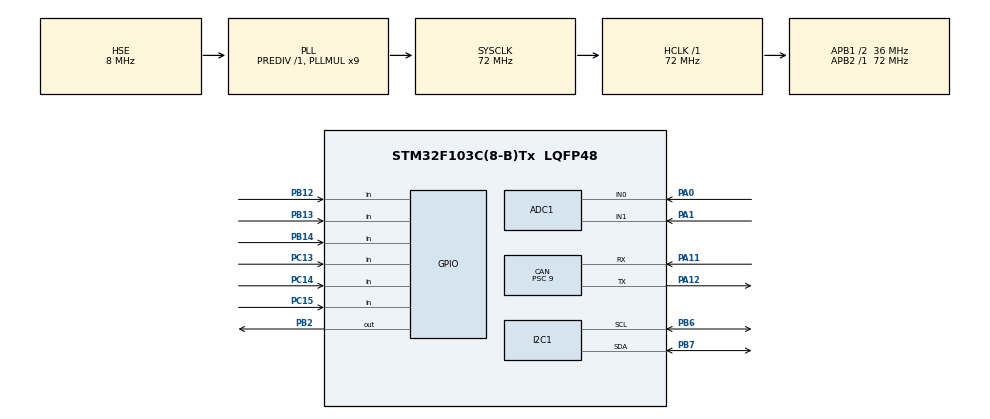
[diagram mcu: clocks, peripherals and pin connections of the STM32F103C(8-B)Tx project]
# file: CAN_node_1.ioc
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ADC1.Channel-5\#ChannelRegularConversion=ADC_CHANNEL_0
ADC1.Channel-6\#ChannelRegularConversion=ADC_CHANNEL_1
ADC1.ContinuousConvMode=ENABLE
ADC1.NbrOfConversion=2
ADC1.NbrOfConversionFlag=1
ADC1.Rank-5\#ChannelRegularConversion=1
ADC1.Rank-6\#ChannelRegularConversion=2
ADC1.SamplingTime-5\#ChannelRegularConversion=ADC_SAMPLETIME_239CYCLES_5
ADC1.SamplingTime-6\#ChannelRegularConversion=ADC_SAMPLETIME_239CYCLES_5
ADC1.master=1
CAN.BS1=CAN_BS1_3TQ
CAN.BS2=CAN_BS2_4TQ
CAN.CalculateBaudRate=500000
CAN.CalculateTimeBit=2000.00
CAN.CalculateTimeQuantum=250.0
CAN.Prescaler=9
Dma.ADC1.0.Direction=DMA_PERIPH_TO_MEMORY
Dma.ADC1.0.Instance=DMA1_Channel1
Dma.ADC1.0.MemDataAlignment=DMA_MDATAALIGN_HALFWORD
Dma.ADC1.0.MemInc=DMA_MINC_ENABLE
Dma.ADC1.0.Mode=DMA_CIRCULAR
Dma.ADC1.0.PeriphDataAlignment=DMA_PDATAALIGN_HALFWORD
Dma.ADC1.0.PeriphInc=DMA_PINC_DISABLE
Dma.ADC1.0.Priority=DMA_PRIORITY_LOW
Dma.Request0=ADC1
FREERTOS.Queues01=q_steering_control,32,uint16_t,0,Dynamic,NULL,NULL;q_throttle_control,32,uint16_t,0,Dynamic,NULL,NULL;q_turn_signal,16,uint8_t,0,Dynamic,NULL,NULL;q_trim_steering,32,uint8_t,0,Dynamic,NULL,NULL;q_disp_steering,16,uint16_t,0,Dynamic,NULL,NULL;q_disp_turn_signal,16,uint8_t,0,Dynamic,NULL,NULL;q_disp_throttle,16,uint16_t,0,Dynamic,NULL,NULL;q_throttle_fb,32,uint16_t,0,Dynamic,NULL,NULL
FREERTOS.Tasks01=display,-1,128,StartDefaultTask,Default,NULL,Dynamic,NULL,NULL;send_message,0,128,StartTask01,Default,NULL,Dynamic,NULL,NULL;dashboard,0,128,StartTask02,Default,NULL,Dynamic,NULL,NULL
I2C1.I2C_Mode=I2C_Fast
Mcu.Family=STM32F1
Mcu.Name=STM32F103C(8-B)Tx
Mcu.Package=LQFP48
NVIC.ADC1_2_IRQn=true\:5\:0\:true\:false\:true\:true\:true\:true
NVIC.DMA1_Channel1_IRQn=true\:5\:0\:true\:false\:true\:true\:false\:true
NVIC.PriorityGroup=NVIC_PRIORITYGROUP_4
NVIC.TIM2_IRQn=true\:5\:0\:false\:false\:true\:true\:true\:true
NVIC.USB_LP_CAN1_RX0_IRQn=true\:5\:0\:false\:false\:true\:true\:true\:true
PA0-WKUP.Signal=ADCx_IN0
PA1.Signal=ADCx_IN1
PA11.Mode=CAN_Activate
PA11.Signal=CAN_RX
PA12.Mode=CAN_Activate
PA12.Signal=CAN_TX
PA13.Mode=Serial_Wire
PA13.Signal=SYS_JTMS-SWDIO
PA14.Mode=Serial_Wire
PA14.Signal=SYS_JTCK-SWCLK
PB12.GPIO_PuPd=GPIO_PULLUP
PB12.Signal=GPIO_Input
PB13.GPIO_PuPd=GPIO_PULLUP
PB13.Signal=GPIO_Input
PB14.GPIO_PuPd=GPIO_PULLUP
PB14.Signal=GPIO_Input
PB2.Signal=GPIO_Output
PB6.Mode=I2C
PB6.Signal=I2C1_SCL
PB7.Mode=I2C
PB7.Signal=I2C1_SDA
PC13-TAMPER-RTC.GPIO_PuPd=GPIO_PULLUP
PC13-TAMPER-RTC.Signal=GPIO_Input
PC14-OSC32_IN.GPIO_PuPd=GPIO_PULLUP
PC14-OSC32_IN.Signal=GPIO_Input
PC15-OSC32_OUT.GPIO_PuPd=GPIO_PULLUP
PC15-OSC32_OUT.Signal=GPIO_Input
PD0-OSC_IN.Mode=HSE-External-Oscillator
PD0-OSC_IN.Signal=RCC_OSC_IN
PD1-OSC_OUT.Mode=HSE-External-Oscillator
PD1-OSC_OUT.Signal=RCC_OSC_OUT
ProjectManager.HeapSize=0x200
ProjectManager.StackSize=0x400
ProjectManager.TargetToolchain=STM32CubeIDE
RCC.ADCPresc=RCC_ADCPCLK2_DIV6
RCC.AHBFreq_Value=72000000
RCC.APB1CLKDivider=RCC_HCLK_DIV2
RCC.APB1Freq_Value=36000000
RCC.APB1TimFreq_Value=72000000
RCC.APB2Freq_Value=72000000
RCC.APB2TimFreq_Value=72000000
RCC.HCLKFreq_Value=72000000
RCC.PLLMUL=RCC_PLL_MUL9
RCC.PLLSourceVirtual=RCC_PLLSOURCE_HSE
RCC.SYSCLKFreq_VALUE=72000000
RCC.SYSCLKSource=RCC_SYSCLKSOURCE_PLLCLK
RCC.USBFreq_Value=72000000
SH.ADCx_IN0.0=ADC1_IN0,IN0
SH.ADCx_IN1.0=ADC1_IN1,IN1
TIM2.Period=10000-1
TIM2.Prescaler=72-1
VP_FREERTOS_VS_CMSIS_V1.Mode=CMSIS_V1
VP_TIM2_VS_ClockSourceINT.Mode=Internal
board=custom

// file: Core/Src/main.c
/* USER CODE BEGIN Header */
/**
  ******************************************************************************
  * @file           : main.c
  * @brief          : Main program body
  ******************************************************************************
  * @attention
  *
  * <h2><center>&copy; Copyright (c) 2025 STMicroelectronics.
  * All rights reserved.</center></h2>
  *
  * This software component is licensed by ST under BSD 3-Clause license,
  * the "License"; You may not use this file except in compliance with the
  * License. You may obtain a copy of the License at:
  *                        opensource.org/licenses/BSD-3-Clause
  *
  ******************************************************************************
  */
/* USER CODE END Header */
#include "main.h"
#include "cmsis_os.h"

/* USER CODE BEGIN Includes */
#include "stdlib.h"
#include "string.h"
#include "kalman_filter.h"
#include "ssd1306_udf.h"
#include "ssd1306_graphic.h"
#include "can_handler.h"
/* USER CODE END Includes */

ADC_HandleTypeDef hadc1;
DMA_HandleTypeDef hdma_adc1;

CAN_HandleTypeDef hcan;

I2C_HandleTypeDef hi2c1;

TIM_HandleTypeDef htim2;

osThreadId displayHandle;
osThreadId send_messageHandle;
osThreadId dashboardHandle;
osMessageQId q_steering_controlHandle;
osMessageQId q_throttle_controlHandle;
osMessageQId q_turn_signalHandle;
osMessageQId q_trim_steeringHandle;
osMessageQId q_disp_steeringHandle;
osMessageQId q_disp_turn_signalHandle;
osMessageQId q_disp_throttleHandle;
osMessageQId q_throttle_fbHandle;
/* USER CODE BEGIN PV */

CAN_TxHeaderTypeDef   tx_header;
uint8_t               tx_data[8];
uint32_t              tx_mailbox;

CAN_RxHeaderTypeDef   rx_header;
uint8_t               rx_data[8];

uint16_t	adc_value[2];
uint16_t 	speed_ppr_fb;
uint16_t 	speed_rpm_fb;
kalman_t 	*kalman_1, *kalman_2;

uint8_t 	status_motor = 0;		// 0 - stop, 1 - start, 2 - error

uint8_t 	trim_button = 0;
uint8_t 	light_sw = 0;
enum light_mode_t light_mode = stop_light;

/* CAN monitors for timeout detection */
CAN_Monitor_t motor_fb_monitor;
CAN_Monitor_t light_fb_monitor;

/* USER CODE END PV */

void SystemClock_Config(void);
static void MX_GPIO_Init(void);
static void MX_DMA_Init(void);
static void MX_CAN_Init(void);
static void MX_I2C1_Init(void);
static void MX_TIM2_Init(void);
static void MX_ADC1_Init(void);
void StartDefaultTask(void const * argument);
void StartTask01(void const * argument);
void StartTask02(void const * argument);

/* USER CODE BEGIN 0 */
void clear_buff (uint8_t * buff_clear, size_t num)
{
	if (buff_clear == NULL) return;

	memset(buff_clear, 0, num);
}

uint8_t check_status_motor (uint16_t throttle_control, uint16_t speed_fb, uint32_t timeout_ms)
{
	static uint32_t curr_tick_cnt = 0;
	static uint32_t pre_tick_cnt = 0;
	static uint16_t pre_throttle_control;
	static uint8_t 	ret = 1;

	throttle_control = throttle_control*144/4096;

	curr_tick_cnt = osKernelSysTick();

	if (curr_tick_cnt - pre_tick_cnt > timeout_ms)
	{
		if ((pre_throttle_control - speed_fb) > 30)
		{
			ret = 2;
		}
		pre_throttle_control = throttle_control;
		pre_tick_cnt = curr_tick_cnt;
	}
	return ret;
}

void disp_status_motor (uint8_t _status_motor)
{
	if (_status_motor == 2)
	{
	static uint32_t curr_tick_cnt = 0;
	static uint32_t pre_tick_cnt = 0;

	curr_tick_cnt = osKernelSysTick();
		if (curr_tick_cnt - pre_tick_cnt > 1000)
		{
			disp_toggle_turn_signal(error_blinker);
		}
	}
}

HAL_StatusTypeDef can_send_message(uint32_t std_id, uint8_t* data, uint8_t dlc)
{
    tx_header.StdId = std_id;
    tx_header.RTR = CAN_RTR_DATA;
    tx_header.DLC = dlc;

    /* Use retry mechanism for reliable transmission */
    HAL_StatusTypeDef result = CAN_Send_WithRetry(&hcan, &tx_header, data, &tx_mailbox, CAN_RETRY_MAX);

    if (result != HAL_OK)
    {
        /* Log error or handle failed transmission */
        CAN_Stats_t* stats = CAN_GetStats(&hcan);
        // Could add debug output here
    }

    return result;
}

void prepare_buff_send ()
{
	static uint16_t pre_throttle = 0;
	static uint16_t pre_steering = 0;
	static uint16_t pre_light = 0;

	uint16_t current_value;
	osEvent q_message;
	uint8_t * p_buff_ptr = (uint8_t *)&current_value;

	tx_header.IDE = CAN_ID_STD;

	/* get element from throttle queue to send motor node control speed motor */
	q_message = osMessageGet(q_throttle_controlHandle, 0);
	status_motor = check_status_motor((uint16_t)q_message.value.v, speed_ppr_fb, 100);

	/* get a message in q_throttle_control if it is not empty */
	if (q_message.status == osEventMessage)
	{
		/* check if the value has changed, then send a message */
		current_value = (uint16_t)q_message.value.v;
		if (abs(current_value - pre_throttle) > 10)
		{
			pre_throttle = current_value;

			tx_data[0] = *p_buff_ptr;
			p_buff_ptr++;
			tx_data[1] = *p_buff_ptr;

			/* Send with retry mechanism */
			if (can_send_message(0x100, tx_data, 2) != HAL_OK)
			{
			    /* Handle transmission error - maybe set error flag */
			}
			clear_buff(&tx_data, sizeof(uint8_t)*8);
			p_buff_ptr = &current_value;
		}
	}

	/* get element from steering queue to send motor node control angle servo */
	q_message = osMessageGet(q_steering_controlHandle, 0);

	/* get a message in q_steering_control if it is not empty */
	if (q_message.status == osEventMessage)
	{
		/* check if the value has changed, then send a message */
		current_value = (uint16_t)q_message.value.v;
		if (abs(current_value - pre_steering) > 10)
		{
			pre_steering = current_value;

			tx_data[0] = *p_buff_ptr;
			p_buff_ptr++;
			tx_data[1] = *p_buff_ptr;

			/* Send with retry mechanism */
			if (can_send_message(0x110, tx_data, 2) != HAL_OK)
			{
			    /* Handle transmission error */
			}
			clear_buff(&tx_data, sizeof(uint8_t)*8);
			p_buff_ptr = &current_value;
		}
	}

	/* get element from light queue to send light node control light */
	q_message = osMessageGet(q_turn_signalHandle, 0);

	/* get a message in q_light_control if it is not empty */
	if (q_message.status == osEventMessage)
	{
		current_value = (uint16_t)q_message.value.v;
		if (current_value != pre_light)
		{
			pre_light = current_value;

			tx_data[0] = current_value;

			/* Send with retry mechanism */
			if (can_send_message(0x210, tx_data, 1) != HAL_OK)
			{
			    /* Handle transmission error */
			}
			clear_buff(&tx_data, sizeof(uint8_t)*8);
		}
	}
}

void emergency_buff_send ()
{
	tx_header.IDE = CAN_ID_STD;

	/* stop motor emergency */
	if (status_motor == 0)
	{
		tx_header.StdId = 0x102;
		tx_header.RTR = CAN_RTR_DATA;
		tx_header.DLC = 1;

		if (HAL_CAN_AddTxMessage(&hcan, &tx_header, 0, &tx_mailbox) != HAL_OK)
		{
		   Error_Handler ();
		}
	}
}

void dashboard_button ()
{
	static uint8_t pre_sw_button = 0;
	tx_header.IDE = CAN_ID_STD;

	/* check if the value has changed, then send a message */
	read_trim_button();
	if (trim_button != pre_sw_button)
	{
		pre_sw_button = trim_button;
		tx_header.StdId = 0x111;
		tx_header.RTR = CAN_RTR_DATA;
		tx_header.DLC = 1;

		if (HAL_CAN_AddTxMessage(&hcan, &tx_header, &trim_button, &tx_mailbox) != HAL_OK)
		{
		   Error_Handler ();
		}
		clear_buff(&tx_data, sizeof(uint8_t)*8);
	}
}

void HAL_ADC_ConvCpltCallback(ADC_HandleTypeDef *hadc)
{
	  adc_value[0] = update_kalman(kalman_1, adc_value[0]);
	  adc_value[1] = update_kalman(kalman_2, adc_value[1]);
}

void read_light_sw ()
{
	/* Set bit 0  */
	light_sw |= (1 << 0);

	/* ON/OFF hazard mode */
	if (HAL_GPIO_ReadPin(GPIOB, GPIO_PIN_14) == GPIO_PIN_RESET)
	{
		light_sw |= (1 << 1);
	}
	else
	{
		light_sw &= ~(1 << 1);
	}

	/* ON/OFF blinker left light */
	if (HAL_GPIO_ReadPin(GPIOC, GPIO_PIN_13) == GPIO_PIN_RESET)
	{
		light_sw |= (1 << 2);
	}
	else
	{
		light_sw &= ~(1 << 2);
	}

	/* ON/OFF blinker right light */
	if (HAL_GPIO_ReadPin(GPIOC, GPIO_PIN_14) == GPIO_PIN_RESET)
	{
		light_sw |= (1 << 3);
	}
	else
	{
		light_sw &= ~(1 << 3);
	}
}

void read_trim_button ()
{
	/* trimming down steering */
	if (HAL_GPIO_ReadPin(GPIOB, GPIO_PIN_12) == GPIO_PIN_RESET)
	{
		trim_button |= (1 << 0);
	}
	else
	{
		trim_button &= ~(1 << 0);
	}

	/* trimming up steering */
	if (HAL_GPIO_ReadPin(GPIOB, GPIO_PIN_13) == GPIO_PIN_RESET)
	{
		trim_button |= (1 << 1);
	}
	else
	{
		trim_button &= ~(1 << 1);
	}
}

void HAL_TIM_PeriodElapsedCallback(TIM_HandleTypeDef *htim)
{
	if (htim->Instance == htim2.Instance)
	{
    /* Todo interrupt handler */
	}
}

void HAL_CAN_RxFifo0MsgPendingCallback(CAN_HandleTypeDef *hcan)
{
	  if (HAL_CAN_GetRxMessage(hcan, CAN_RX_FIFO0, &rx_header, rx_data) != HAL_OK)
	  {
	    Error_Handler();
	  }

	  if (rx_header.StdId == 0x211)
	  {
		  displ_turn_signal(rx_data[0]);
		  /* Update light feedback monitor */
		  CAN_Monitor_Update(&light_fb_monitor);
		  clear_buff(&rx_data, sizeof(uint8_t)*8);
	  }
	  if (rx_header.StdId == 0x101)
	  {
		  speed_ppr_fb = (uint16_t)(rx_data[0] | (rx_data[1] << 8));
		  speed_rpm_fb = speed_ppr_fb * 1.4;
		  /* Update motor feedback monitor */
		  CAN_Monitor_Update(&motor_fb_monitor);
		  clear_buff(&rx_data, sizeof(uint8_t)*8);
	  }
}

/**
 * @brief CAN error callback
 *        Called when CAN error occurs
 */
void CAN_Error_Callback(CAN_HandleTypeDef *hcan, CAN_ErrorCode_t error_code)
{
    switch (error_code)
    {
        case CAN_ERROR_BUS_OFF:
            /* Bus-off error - most severe */
            status_motor = 0;  /* Stop motor for safety */
            // Could add LED indication or display warning
            break;

        case CAN_ERROR_WARNING:
            /* Warning level error */
            // Could log or indicate warning
            break;

        case CAN_ERROR_PASSIVE:
            /* Error passive state */
            // Reduce transmission attempts
            break;

        default:
            break;
    }
}

/**
 * @brief Check CAN timeout monitors
 *        Should be called periodically
 */
void check_can_timeouts(void)
{
    /* Check motor feedback timeout */
    if (CAN_Monitor_CheckTimeout(&motor_fb_monitor))
    {
        /* Motor feedback lost - set error status */
        if (status_motor == 1)  /* Only if motor was running */
        {
            status_motor = 2;  /* Set error status */
        }
    }

    /* Check light feedback timeout */
    if (CAN_Monitor_CheckTimeout(&light_fb_monitor))
    {
        /* Light feedback lost - could indicate issue */
        // Could add warning indication
    }
}

void displ_turn_signal (uint8_t feedback_turn_signal)
{
	if ((feedback_turn_signal >> 1) & 0x01)
	{
		disp_toggle_turn_signal(hazard_blinker);
	}
	else if ((feedback_turn_signal >> 2) & 0x01)
	{
		disp_toggle_turn_signal(left_blinker);
	}
	else if ((feedback_turn_signal >> 3) & 0x01)
	{
		disp_toggle_turn_signal(right_blinker);
	}
	else
	{
		disp_off_turn_signal();
	}
	ssd1306_UpdateScreen();
}

void blinker_led ()
{
	static uint32_t curr_tick_cnt = 0;
	static uint32_t pre_tick_cnt = 0;

	curr_tick_cnt = osKernelSysTick();
	if (curr_tick_cnt - pre_tick_cnt > 1000)
	{
		HAL_GPIO_WritePin(GPIOB, GPIO_PIN_2, GPIO_PIN_SET);
	}
	if (curr_tick_cnt - pre_tick_cnt > 1030)
	{
		pre_tick_cnt = curr_tick_cnt;
		HAL_GPIO_WritePin(GPIOB, GPIO_PIN_2, GPIO_PIN_RESET);
	}
}

/* USER CODE END 0 */

int main(void)
{

  /* MCU Configuration--------------------------------------------------------*/

  /* Reset of all peripherals, Initializes the Flash interface and the Systick. */
    HAL_Init();

  /* Configure the system clock */
  SystemClock_Config();

  /* Initialize all configured peripherals */
  MX_GPIO_Init();
  MX_DMA_Init();
  MX_CAN_Init();
  MX_I2C1_Init();
  MX_TIM2_Init();
  MX_ADC1_Init();
  /* USER CODE BEGIN 2 */
  /* Initialize CAN error handler */
  CAN_ErrorHandler_Init(&hcan);

  HAL_CAN_Start(&hcan);
  HAL_TIM_Base_Start_IT(&htim2);

  /* Activate CAN notifications with error handling */
  HAL_CAN_ActivateNotification(&hcan,
      CAN_IT_RX_FIFO0_MSG_PENDING |
      CAN_IT_ERROR_WARNING |
      CAN_IT_ERROR_PASSIVE |
      CAN_IT_BUSOFF |
      CAN_IT_LAST_ERROR_CODE);

  /* Initialize CAN monitors for timeout detection */
  CAN_Monitor_Init(&motor_fb_monitor, 1000);  /* 1s timeout for motor feedback */
  CAN_Monitor_Init(&light_fb_monitor, 2000);  /* 2s timeout for light feedback */

  kalman_1 = create_kalman(50, 50, 0.01);
  kalman_2 = create_kalman(50, 50, 0.01);
  /* USER CODE END 2 */

  /* Create the queue(s) */
  /* definition and creation of q_steering_control */
  osMessageQDef(q_steering_control, 32, uint16_t);
  q_steering_controlHandle = osMessageCreate(osMessageQ(q_steering_control), NULL);

  /* definition and creation of q_throttle_control */
  osMessageQDef(q_throttle_control, 32, uint16_t);
  q_throttle_controlHandle = osMessageCreate(osMessageQ(q_throttle_control), NULL);

  /* definition and creation of q_turn_signal */
  osMessageQDef(q_turn_signal, 16, uint8_t);
  q_turn_signalHandle = osMessageCreate(osMessageQ(q_turn_signal), NULL);

  /* definition and creation of q_trim_steering */
  osMessageQDef(q_trim_steering, 32, uint8_t);
  q_trim_steeringHandle = osMessageCreate(osMessageQ(q_trim_steering), NULL);

  /* definition and creation of q_disp_steering */
  osMessageQDef(q_disp_steering, 16, uint16_t);
  q_disp_steeringHandle = osMessageCreate(osMessageQ(q_disp_steering), NULL);

  /* definition and creation of q_disp_turn_signal */
  osMessageQDef(q_disp_turn_signal, 16, uint8_t);
  q_disp_turn_signalHandle = osMessageCreate(osMessageQ(q_disp_turn_signal), NULL);

  /* definition and creation of q_disp_throttle */
  osMessageQDef(q_disp_throttle, 16, uint16_t);
  q_disp_throttleHandle = osMessageCreate(osMessageQ(q_disp_throttle), NULL);

  /* definition and creation of q_throttle_fb */
  osMessageQDef(q_throttle_fb, 32, uint16_t);
  q_throttle_fbHandle = osMessageCreate(osMessageQ(q_throttle_fb), NULL);

  /* Create the thread(s) */
  /* definition and creation of display */
  osThreadDef(display, StartDefaultTask, osPriorityNormal, 0, 128);
  displayHandle = osThreadCreate(osThread(display), NULL);

  /* definition and creation of send_message */
  osThreadDef(send_message, StartTask01, osPriorityNormal, 0, 128);
  send_messageHandle = osThreadCreate(osThread(send_message), NULL);

  /* definition and creation of dashboard */
  osThreadDef(dashboard, StartTask02, osPriorityNormal, 0, 128);
  dashboardHandle = osThreadCreate(osThread(dashboard), NULL);

  /* Start scheduler */
  osKernelStart();

  /* We should never get here as control is now taken by the scheduler */
  /* Infinite loop */
  while (1)
  {

  }
}

void SystemClock_Config(void)
{
  RCC_OscInitTypeDef RCC_OscInitStruct = {0};
  RCC_ClkInitTypeDef RCC_ClkInitStruct = {0};
  RCC_PeriphCLKInitTypeDef PeriphClkInit = {0};

  /** Initializes the RCC Oscillators according to the specified parameters
  * in the RCC_OscInitTypeDef structure.
  */
  RCC_OscInitStruct.OscillatorType = RCC_OSCILLATORTYPE_HSE;
  RCC_OscInitStruct.HSEState = RCC_HSE_ON;
  RCC_OscInitStruct.HSEPredivValue = RCC_HSE_PREDIV_DIV1;
  RCC_OscInitStruct.HSIState = RCC_HSI_ON;
  RCC_OscInitStruct.PLL.PLLState = RCC_PLL_ON;
  RCC_OscInitStruct.PLL.PLLSource = RCC_PLLSOURCE_HSE;
  RCC_OscInitStruct.PLL.PLLMUL = RCC_PLL_MUL9;
  if (HAL_RCC_OscConfig(&RCC_OscInitStruct) != HAL_OK)
  {
    Error_Handler();
  }
  /** Initializes the CPU, AHB and APB buses clocks
  */
  RCC_ClkInitStruct.ClockType = RCC_CLOCKTYPE_HCLK|RCC_CLOCKTYPE_SYSCLK
                              |RCC_CLOCKTYPE_PCLK1|RCC_CLOCKTYPE_PCLK2;
  RCC_ClkInitStruct.SYSCLKSource = RCC_SYSCLKSOURCE_PLLCLK;
  RCC_ClkInitStruct.AHBCLKDivider = RCC_SYSCLK_DIV1;
  RCC_ClkInitStruct.APB1CLKDivider = RCC_HCLK_DIV2;
  RCC_ClkInitStruct.APB2CLKDivider = RCC_HCLK_DIV1;

  if (HAL_RCC_ClockConfig(&RCC_ClkInitStruct, FLASH_LATENCY_2) != HAL_OK)
  {
    Error_Handler();
  }
  PeriphClkInit.PeriphClockSelection = RCC_PERIPHCLK_ADC;
  PeriphClkInit.AdcClockSelection = RCC_ADCPCLK2_DIV6;
  if (HAL_RCCEx_PeriphCLKConfig(&PeriphClkInit) != HAL_OK)
  {
    Error_Handler();
  }
}

static void MX_ADC1_Init(void)
{

  ADC_ChannelConfTypeDef sConfig = {0};

  /** Common config
  */
  hadc1.Instance = ADC1;
  hadc1.Init.ScanConvMode = ADC_SCAN_ENABLE;
  hadc1.Init.ContinuousConvMode = ENABLE;
  hadc1.Init.DiscontinuousConvMode = DISABLE;
  hadc1.Init.ExternalTrigConv = ADC_SOFTWARE_START;
  hadc1.Init.DataAlign = ADC_DATAALIGN_RIGHT;
  hadc1.Init.NbrOfConversion = 2;
  if (HAL_ADC_Init(&hadc1) != HAL_OK)
  {
    Error_Handler();
  }
  /** Configure Regular Channel
  */
  sConfig.Channel = ADC_CHANNEL_0;
  sConfig.Rank = ADC_REGULAR_RANK_1;
  sConfig.SamplingTime = ADC_SAMPLETIME_239CYCLES_5;
  if (HAL_ADC_ConfigChannel(&hadc1, &sConfig) != HAL_OK)
  {
    Error_Handler();
  }
  /** Configure Regular Channel
  */
  sConfig.Channel = ADC_CHANNEL_1;
  sConfig.Rank = ADC_REGULAR_RANK_2;
  if (HAL_ADC_ConfigChannel(&hadc1, &sConfig) != HAL_OK)
  {
    Error_Handler();
  }

}

static void MX_CAN_Init(void)
{

  hcan.Instance = CAN1;
  hcan.Init.Prescaler = 9;
  hcan.Init.Mode = CAN_MODE_NORMAL;
  hcan.Init.SyncJumpWidth = CAN_SJW_1TQ;
  hcan.Init.TimeSeg1 = CAN_BS1_3TQ;
  hcan.Init.TimeSeg2 = CAN_BS2_4TQ;
  hcan.Init.TimeTriggeredMode = DISABLE;
  hcan.Init.AutoBusOff = DISABLE;
  hcan.Init.AutoWakeUp = DISABLE;
  hcan.Init.AutoRetransmission = DISABLE;
  hcan.Init.ReceiveFifoLocked = DISABLE;
  hcan.Init.TransmitFifoPriority = DISABLE;
  if (HAL_CAN_Init(&hcan) != HAL_OK)
  {
    Error_Handler();
  }
  /* USER CODE BEGIN CAN_Init 2 */
  CAN_FilterTypeDef canfilterconfig;

  canfilterconfig.FilterActivation = ENABLE;
  canfilterconfig.FilterBank = 0;
  canfilterconfig.FilterFIFOAssignment = CAN_RX_FIFO0;
  canfilterconfig.FilterMode = CAN_FILTERMODE_IDMASK;
  canfilterconfig.FilterIdHigh = 0;
  canfilterconfig.FilterIdLow = 0;
  canfilterconfig.FilterMaskIdHigh = 0;
  canfilterconfig.FilterMaskIdLow = 0;
  canfilterconfig.FilterScale = CAN_FILTERSCALE_32BIT;
  canfilterconfig.SlaveStartFilterBank = 10;

  HAL_CAN_ConfigFilter(&hcan, &canfilterconfig);

  /* USER CODE END CAN_Init 2 */

}

static void MX_I2C1_Init(void)
{

  hi2c1.Instance = I2C1;
  hi2c1.Init.ClockSpeed = 400000;
  hi2c1.Init.DutyCycle = I2C_DUTYCYCLE_2;
  hi2c1.Init.OwnAddress1 = 0;
  hi2c1.Init.AddressingMode = I2C_ADDRESSINGMODE_7BIT;
  hi2c1.Init.DualAddressMode = I2C_DUALADDRESS_DISABLE;
  hi2c1.Init.OwnAddress2 = 0;
  hi2c1.Init.GeneralCallMode = I2C_GENERALCALL_DISABLE;
  hi2c1.Init.NoStretchMode = I2C_NOSTRETCH_DISABLE;
  if (HAL_I2C_Init(&hi2c1) != HAL_OK)
  {
    Error_Handler();
  }

}

static void MX_TIM2_Init(void)
{

  TIM_ClockConfigTypeDef sClockSourceConfig = {0};
  TIM_MasterConfigTypeDef sMasterConfig = {0};

  htim2.Instance = TIM2;
  htim2.Init.Prescaler = 72-1;
  htim2.Init.CounterMode = TIM_COUNTERMODE_UP;
  htim2.Init.Period = 10000-1;
  htim2.Init.ClockDivision = TIM_CLOCKDIVISION_DIV1;
  htim2.Init.AutoReloadPreload = TIM_AUTORELOAD_PRELOAD_DISABLE;
  if (HAL_TIM_Base_Init(&htim2) != HAL_OK)
  {
    Error_Handler();
  }
  sClockSourceConfig.ClockSource = TIM_CLOCKSOURCE_INTERNAL;
  if (HAL_TIM_ConfigClockSource(&htim2, &sClockSourceConfig) != HAL_OK)
  {
    Error_Handler();
  }
  sMasterConfig.MasterOutputTrigger = TIM_TRGO_RESET;
  sMasterConfig.MasterSlaveMode = TIM_MASTERSLAVEMODE_DISABLE;
  if (HAL_TIMEx_MasterConfigSynchronization(&htim2, &sMasterConfig) != HAL_OK)
  {
    Error_Handler();
  }

}

static void MX_DMA_Init(void)
{

  /* DMA controller clock enable */
  __HAL_RCC_DMA1_CLK_ENABLE();

  /* DMA interrupt init */
  /* DMA1_Channel1_IRQn interrupt configuration */
  HAL_NVIC_SetPriority(DMA1_Channel1_IRQn, 5, 0);
  HAL_NVIC_EnableIRQ(DMA1_Channel1_IRQn);

}

static void MX_GPIO_Init(void)
{
  GPIO_InitTypeDef GPIO_InitStruct = {0};

  /* GPIO Ports Clock Enable */
  __HAL_RCC_GPIOC_CLK_ENABLE();
  __HAL_RCC_GPIOD_CLK_ENABLE();
  __HAL_RCC_GPIOA_CLK_ENABLE();
  __HAL_RCC_GPIOB_CLK_ENABLE();

  /*Configure GPIO pin Output Level */
  HAL_GPIO_WritePin(GPIOB, GPIO_PIN_2, GPIO_PIN_RESET);

  /*Configure GPIO pins : PC13 PC14 PC15 */
  GPIO_InitStruct.Pin = GPIO_PIN_13|GPIO_PIN_14|GPIO_PIN_15;
  GPIO_InitStruct.Mode = GPIO_MODE_INPUT;
  GPIO_InitStruct.Pull = GPIO_PULLUP;
  HAL_GPIO_Init(GPIOC, &GPIO_InitStruct);

  /*Configure GPIO pin : PB2 */
  GPIO_InitStruct.Pin = GPIO_PIN_2;
  GPIO_InitStruct.Mode = GPIO_MODE_OUTPUT_PP;
  GPIO_InitStruct.Pull = GPIO_NOPULL;
  GPIO_InitStruct.Speed = GPIO_SPEED_FREQ_LOW;
  HAL_GPIO_Init(GPIOB, &GPIO_InitStruct);

  /*Configure GPIO pins : PB12 PB13 PB14 */
  GPIO_InitStruct.Pin = GPIO_PIN_12|GPIO_PIN_13|GPIO_PIN_14;
  GPIO_InitStruct.Mode = GPIO_MODE_INPUT;
  GPIO_InitStruct.Pull = GPIO_PULLUP;
  HAL_GPIO_Init(GPIOB, &GPIO_InitStruct);

}

void StartDefaultTask(void const * argument)
{
  /* USER CODE BEGIN 5 */
				/* this task is displays information */
  /* Infinite loop */
	disp_draw_dashboard();
	for(;;)
	{
		blinker_led();
		disp_status_motor(status_motor);
		disp_msg_uint(speed_ppr_fb, 95, 40);
		disp_needle_speed(speed_ppr_fb, speed_rpm_fb);
	}
  /* USER CODE END 5 */
}

void StartTask01(void const * argument)
{
  /* USER CODE BEGIN StartTask01 */
				/* this task is prepares message and send message */
  /* Infinite loop */
	for(;;)
	{
		emergency_buff_send();
		prepare_buff_send();
		osDelay(1);
	}
  /* USER CODE END StartTask01 */
}

void StartTask02(void const * argument)
{
  /* USER CODE BEGIN StartTask02 */
				/* this task is get data from dashboard */
  /* Infinite loop */
	status_motor = 1;
  HAL_ADC_Start_DMA(&hadc1, &adc_value, 2);
	for(;;)
	{
		osMessagePut(q_throttle_controlHandle, adc_value[0], 0);
		osMessagePut(q_steering_controlHandle, adc_value[1], 0);
		osMessagePut(q_disp_throttleHandle, adc_value[1], 0);

		read_light_sw();
		osMessagePut(q_turn_signalHandle, light_sw, 0);
		osMessagePut(q_disp_turn_signalHandle, light_sw, 0);

		read_trim_button();
		osMessagePut(q_trim_steeringHandle, trim_button, 0);
		osDelay(1);
	}
  /* USER CODE END StartTask02 */
}

void Error_Handler(void)
{
  __disable_irq();
  while (1)
  {
  }
}

/************************ (C) COPYRIGHT STMicroelectronics *****END OF FILE****/
